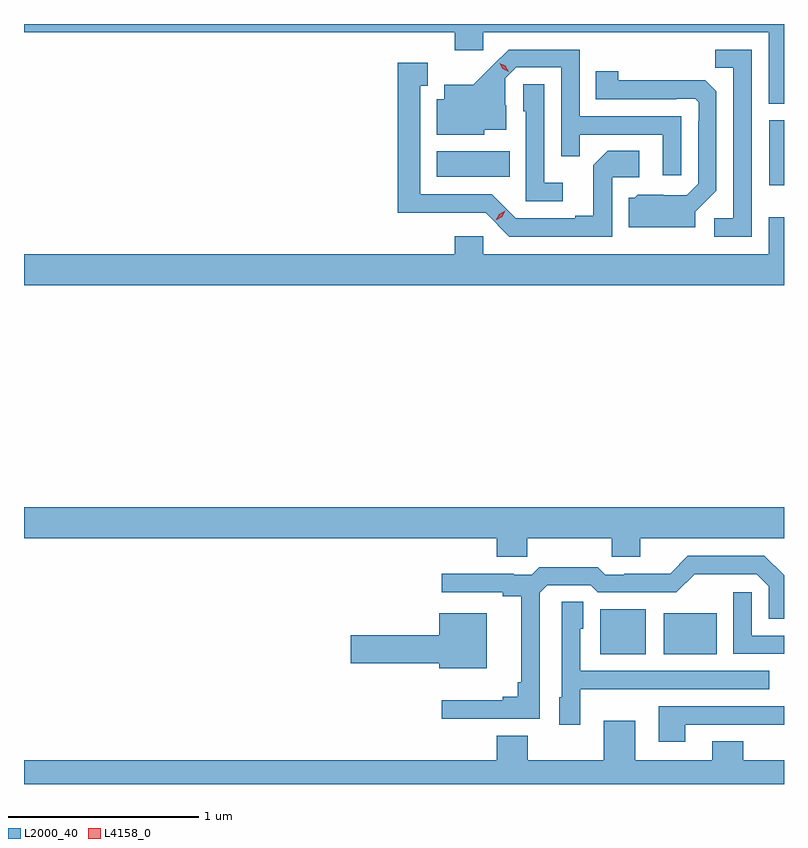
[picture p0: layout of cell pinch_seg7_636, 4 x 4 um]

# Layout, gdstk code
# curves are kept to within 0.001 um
import gdstk
lib = gdstk.Library(unit=1e-6, precision=1e-09)
def R(c, l, rs):  # rectangles x0, y0, x1, y1
    for r in rs: c.add(gdstk.rectangle(r[:2], r[2:], *l))
def P(c, l, *ps):  # polygons
    for p in ps: c.add(gdstk.Polygon(p, *l))
L2000_40 = (2000, 40)
L4158_0 = (4158, 0)

pinch_seg7_636 = lib.new_cell('pinch_seg7_636')
R(pinch_seg7_636, L2000_40, [(156.659,1004.003,156.898,1004.239), (156.992,1004.003,157.27,1004.218), (157.547,1006.47,157.625,1006.813), (155.798,1006.514,156.182,1006.648)])
P(pinch_seg7_636, L2000_40, [(157.625,1007.319),(153.625,1007.319),(153.625,1007.276),(155.891,1007.276),(155.891,1007.181),(156.042,1007.181),(156.042,1007.276),(157.544,1007.276),(157.544,1006.898),(157.625,1006.898)],
  [(157.083,1006.833),(156.549,1006.833),(156.549,1007.184),(156.176,1007.184),(155.989,1006.999),(155.837,1006.999),(155.837,1006.923),(155.798,1006.923),(155.798,1006.736),(156.048,1006.736),(156.048,1006.763),(156.163,1006.763),(156.163,1006.892),(156.159,1006.892),(156.159,1007.034),(156.216,1007.091),(156.453,1007.091),(156.453,1006.624),(156.551,1006.624),(156.551,1006.737),(156.987,1006.737),(156.987,1006.524),(157.083,1006.524)],
  [(157.455,1007.184),(157.264,1007.184),(157.264,1007.089),(157.359,1007.089),(157.359,1006.296),(157.257,1006.296),(157.257,1006.2),(157.455,1006.2)],
  [(156.72,1006.512),(156.862,1006.512),(156.862,1006.652),(156.697,1006.652),(156.621,1006.576),(156.621,1006.309),(156.527,1006.309),(156.527,1006.296),(156.213,1006.296),(156.087,1006.422),(155.71,1006.422),(155.71,1006.995),(155.749,1006.995),(155.749,1007.116),(155.592,1007.116),(155.592,1006.325),(156.054,1006.326),(156.18,1006.2),(156.72,1006.2)],
  [(157.159,1006.332),(157.269,1006.442),(157.269,1006.964),(157.21,1007.023),(156.753,1007.024),(156.753,1007.071),(156.634,1007.071),(156.634,1006.923),(157.058,1006.923),(157.058,1006.926),(157.158,1006.926),(157.176,1006.908),(157.176,1006.808),(157.173,1006.808),(157.173,1006.479),(157.113,1006.419),(156.856,1006.42),(156.84,1006.404),(156.809,1006.404),(156.809,1006.25),(157.159,1006.25)],
  [(156.46,1006.483),(156.363,1006.483),(156.363,1007.003),(156.252,1007.003),(156.252,1006.86),(156.267,1006.86),(156.267,1006.386),(156.46,1006.386)],
  [(157.625,1006.303),(157.544,1006.303),(157.544,1006.108),(156.042,1006.108),(156.042,1006.201),(155.891,1006.201),(155.891,1006.108),(153.625,1006.108),(153.625,1005.944),(157.625,1005.944)],
  [(156.273,1004.612),(156.718,1004.612),(156.718,1004.514),(156.868,1004.514),(156.868,1004.612),(157.625,1004.612),(157.625,1004.776),(153.625,1004.776),(153.625,1004.612),(156.113,1004.612),(156.113,1004.514),(156.273,1004.514)],
  [(156.339,1004.325),(156.378,1004.364),(156.609,1004.364),(156.645,1004.328),(157.059,1004.328),(157.154,1004.423),(157.482,1004.424),(157.545,1004.361),(157.545,1004.19),(157.625,1004.19),(157.625,1004.418),(157.522,1004.52),(157.119,1004.52),(157.025,1004.426),(156.784,1004.426),(156.784,1004.421),(156.684,1004.421),(156.645,1004.461),(156.337,1004.461),(156.297,1004.421),(156.203,1004.421),(156.203,1004.426),(155.823,1004.426),(155.823,1004.328),(156.146,1004.328),(156.146,1004.306),(156.242,1004.306),(156.242,1003.855),(156.223,1003.855),(156.223,1003.778),(156.146,1003.778),(156.146,1003.759),(155.823,1003.759),(155.823,1003.662),(156.339,1003.662)],
  [(157.625,1004.1),(157.455,1004.1),(157.455,1004.329),(157.359,1004.329),(157.359,1004.004),(157.625,1004.004)],
  [(156.552,1003.817),(156.869,1003.817),(156.869,1003.818),(157.547,1003.818),(157.547,1003.914),(156.552,1003.914),(156.552,1004.136),(156.568,1004.136),(156.568,1004.279),(156.456,1004.279),(156.456,1003.776),(156.443,1003.776),(156.443,1003.632),(156.552,1003.632)],
  [(156.061,1004.218),(155.81,1004.218),(155.81,1004.102),(155.346,1004.102),(155.346,1003.955),(155.81,1003.955),(155.81,1003.928),(156.061,1003.928)],
  [(157.105,1003.632),(157.535,1003.632),(157.535,1003.631),(157.625,1003.631),(157.625,1003.728),(156.965,1003.728),(156.965,1003.542),(157.105,1003.542)],
  [(157.625,1003.444),(157.411,1003.444),(157.411,1003.543),(157.247,1003.543),(157.247,1003.444),(156.841,1003.444),(156.841,1003.651),(156.677,1003.651),(156.677,1003.444),(156.277,1003.444),(156.277,1003.573),(156.113,1003.573),(156.113,1003.444),(153.625,1003.444),(153.625,1003.319),(157.625,1003.319)])
P(pinch_seg7_636, L4158_0, [(156.177,1007.068),(156.146,1007.083),(156.128,1007.113),(156.128,1007.113),(156.128,1007.113),(156.159,1007.098),(156.177,1007.068),(156.177,1007.068)],
  [(156.109,1006.286),(156.109,1006.286),(156.126,1006.318),(156.158,1006.337),(156.158,1006.337),(156.158,1006.337),(156.141,1006.305),(156.109,1006.286)])

lib.write_gds('pinch_seg7_636.gds')
